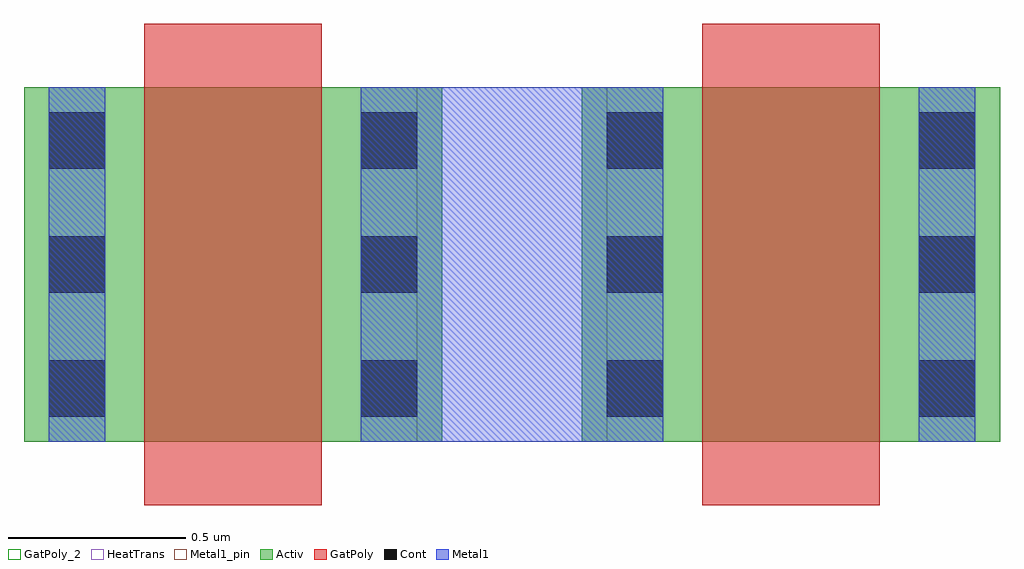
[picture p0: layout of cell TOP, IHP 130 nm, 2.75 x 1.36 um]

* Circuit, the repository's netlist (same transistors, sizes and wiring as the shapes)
* Extracted by KLayout with SG13G2 LVS runset on : 19/11/2026 15:45

.SUBCKT TOP
M$1 \$2 \$5 \$3 \$1 sg13_lv_nmos L=0.5u W=1u AS=0.34p AD=0.34p PS=2.68u
+ PD=2.68u rfmode=0
M$2 \$3 \$6 \$4 \$1 sg13_lv_nmos L=0.5u W=1u AS=0.34p AD=0.34p PS=2.68u
+ PD=2.68u rfmode=0
.ENDS TOP

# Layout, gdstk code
import gdstk
lib = gdstk.Library(unit=1e-6, precision=1e-09)
def R(c, l, rs):  # rectangles x0, y0, x1, y1
    for r in rs: c.add(gdstk.rectangle(r[:2], r[2:], *l))
def A(c, l, x, y, w, h, nx, ny, dx, dy):  # array of equal rectangles
    R(c, l, [(x+i*dx, y+j*dy, x+i*dx+w, y+j*dy+h) for i in range(nx) for j in range(ny)])
Activ = (1, 0)
GatPoly = (5, 0)
GatPoly_2 = (5, 2)
Cont = (6, 0)
Metal1 = (8, 0)
Metal1_pin = (8, 2)
HeatTrans = (51, 0)

nmos_1 = lib.new_cell('nmos$1')
R(nmos_1, Activ, [(0,0,0.3,0.3), (0,0,1.18,1), (0.88,0,1.18,0.3)])
R(nmos_1, GatPoly, [(0.34,-0.18,0.84,1.18)])
R(nmos_1, GatPoly_2, [(0.34,-0.18,0.84,1.18)])
A(nmos_1, Cont, 0.07, 0.07, 0.16, 0.16, 1, 3, 0, 0.35)
A(nmos_1, Cont, 0.95, 0.07, 0.16, 0.16, 1, 3, 0, 0.35)
R(nmos_1, Metal1, [(0.07,0,0.23,1), (0.95,0,1.11,1)])
R(nmos_1, Metal1_pin, [(0.07,0,0.23,1), (0.95,0,1.11,1)])
R(nmos_1, HeatTrans, [(0.34,-0.18,0.84,1.18)])
nmos_1.add(gdstk.Label('nmos', (0.59,0.5), layer=63, texttype=0))
nmos_1.add(gdstk.Label('nmos', (0.59,0.5), layer=51, texttype=0))

top = lib.new_cell('TOP')
R(top, Metal1, [(0.4,-0.03,0.935,0.97)])
top.add(gdstk.Reference(nmos_1, (-0.71,-0.03)))
top.add(gdstk.Reference(nmos_1, (0.865,-0.03)))

lib.write_gds('TOP.gds')
